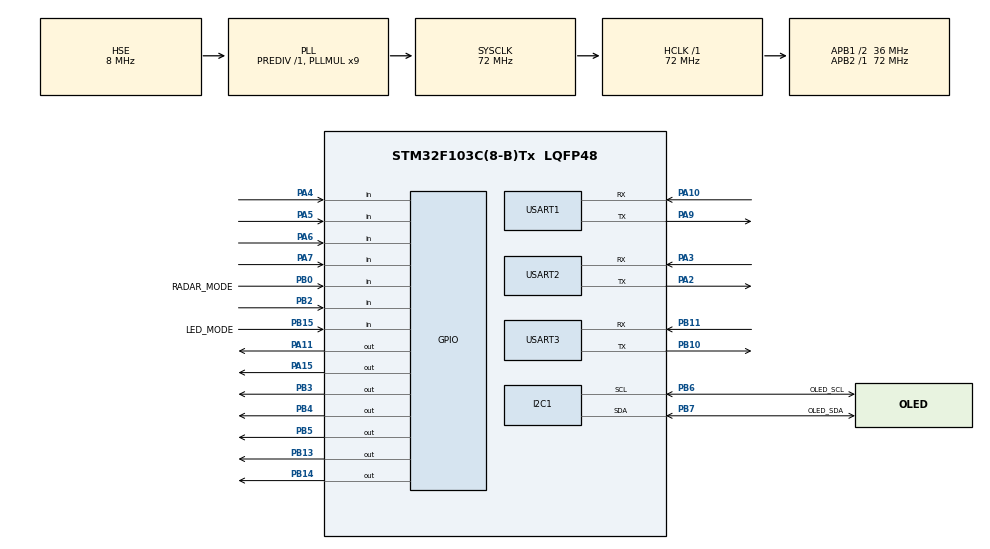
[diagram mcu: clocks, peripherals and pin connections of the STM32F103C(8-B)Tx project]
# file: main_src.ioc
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Dma.Request0=USART1_RX
Dma.Request1=USART1_TX
Dma.Request2=USART2_RX
Dma.Request3=USART2_TX
Dma.Request4=USART3_RX
Dma.Request5=USART3_TX
Dma.USART1_RX.0.Direction=DMA_PERIPH_TO_MEMORY
Dma.USART1_RX.0.Instance=DMA1_Channel5
Dma.USART1_RX.0.MemDataAlignment=DMA_MDATAALIGN_BYTE
Dma.USART1_RX.0.MemInc=DMA_MINC_ENABLE
Dma.USART1_RX.0.Mode=DMA_CIRCULAR
Dma.USART1_RX.0.PeriphDataAlignment=DMA_PDATAALIGN_BYTE
Dma.USART1_RX.0.PeriphInc=DMA_PINC_DISABLE
Dma.USART1_RX.0.Priority=DMA_PRIORITY_LOW
Dma.USART1_TX.1.Direction=DMA_MEMORY_TO_PERIPH
Dma.USART1_TX.1.Instance=DMA1_Channel4
Dma.USART1_TX.1.MemDataAlignment=DMA_MDATAALIGN_BYTE
Dma.USART1_TX.1.MemInc=DMA_MINC_ENABLE
Dma.USART1_TX.1.Mode=DMA_NORMAL
Dma.USART1_TX.1.PeriphDataAlignment=DMA_PDATAALIGN_BYTE
Dma.USART1_TX.1.PeriphInc=DMA_PINC_DISABLE
Dma.USART1_TX.1.Priority=DMA_PRIORITY_LOW
Dma.USART2_RX.2.Direction=DMA_PERIPH_TO_MEMORY
Dma.USART2_RX.2.Instance=DMA1_Channel6
Dma.USART2_RX.2.MemDataAlignment=DMA_MDATAALIGN_BYTE
Dma.USART2_RX.2.MemInc=DMA_MINC_ENABLE
Dma.USART2_RX.2.Mode=DMA_CIRCULAR
Dma.USART2_RX.2.PeriphDataAlignment=DMA_PDATAALIGN_BYTE
Dma.USART2_RX.2.PeriphInc=DMA_PINC_DISABLE
Dma.USART2_RX.2.Priority=DMA_PRIORITY_LOW
Dma.USART2_TX.3.Direction=DMA_MEMORY_TO_PERIPH
Dma.USART2_TX.3.Instance=DMA1_Channel7
Dma.USART2_TX.3.MemDataAlignment=DMA_MDATAALIGN_BYTE
Dma.USART2_TX.3.MemInc=DMA_MINC_ENABLE
Dma.USART2_TX.3.Mode=DMA_NORMAL
Dma.USART2_TX.3.PeriphDataAlignment=DMA_PDATAALIGN_BYTE
Dma.USART2_TX.3.PeriphInc=DMA_PINC_DISABLE
Dma.USART2_TX.3.Priority=DMA_PRIORITY_LOW
Dma.USART3_RX.4.Direction=DMA_PERIPH_TO_MEMORY
Dma.USART3_RX.4.Instance=DMA1_Channel3
Dma.USART3_RX.4.MemDataAlignment=DMA_MDATAALIGN_BYTE
Dma.USART3_RX.4.MemInc=DMA_MINC_ENABLE
Dma.USART3_RX.4.Mode=DMA_CIRCULAR
Dma.USART3_RX.4.PeriphDataAlignment=DMA_PDATAALIGN_BYTE
Dma.USART3_RX.4.PeriphInc=DMA_PINC_DISABLE
Dma.USART3_RX.4.Priority=DMA_PRIORITY_LOW
Dma.USART3_TX.5.Direction=DMA_MEMORY_TO_PERIPH
Dma.USART3_TX.5.Instance=DMA1_Channel2
Dma.USART3_TX.5.MemDataAlignment=DMA_MDATAALIGN_BYTE
Dma.USART3_TX.5.MemInc=DMA_MINC_ENABLE
Dma.USART3_TX.5.Mode=DMA_NORMAL
Dma.USART3_TX.5.PeriphDataAlignment=DMA_PDATAALIGN_BYTE
Dma.USART3_TX.5.PeriphInc=DMA_PINC_DISABLE
Dma.USART3_TX.5.Priority=DMA_PRIORITY_LOW
I2C1.DualAddressMode=I2C_DUALADDRESS_ENABLE
I2C1.NoStretchMode=I2C_NOSTRETCH_ENABLE
I2C1.OwnAddress2=0x78
Mcu.Family=STM32F1
Mcu.Name=STM32F103C(8-B)Tx
Mcu.Package=LQFP48
NVIC.DMA1_Channel2_IRQn=true\:0\:0\:false\:false\:true\:false\:true
NVIC.DMA1_Channel3_IRQn=true\:0\:0\:false\:false\:true\:false\:true
NVIC.DMA1_Channel4_IRQn=true\:0\:0\:false\:false\:true\:false\:true
NVIC.DMA1_Channel5_IRQn=true\:0\:0\:false\:false\:true\:false\:true
NVIC.DMA1_Channel6_IRQn=true\:0\:0\:false\:false\:true\:false\:true
NVIC.DMA1_Channel7_IRQn=true\:0\:0\:false\:false\:true\:false\:true
NVIC.PriorityGroup=NVIC_PRIORITYGROUP_4
NVIC.TIM2_IRQn=true\:0\:0\:false\:false\:true\:true\:true
NVIC.USART1_IRQn=true\:0\:0\:false\:false\:true\:true\:true
NVIC.USART2_IRQn=true\:0\:0\:false\:false\:true\:true\:true
NVIC.USART3_IRQn=true\:0\:0\:false\:false\:true\:true\:true
PA10.Mode=Asynchronous
PA10.Signal=USART1_RX
PA11.Signal=GPIO_Output
PA13.Mode=Serial_Wire
PA13.Signal=SYS_JTMS-SWDIO
PA14.Mode=Serial_Wire
PA14.Signal=SYS_JTCK-SWCLK
PA15.Signal=GPIO_Output
PA2.Mode=Asynchronous
PA2.Signal=USART2_TX
PA3.Mode=Asynchronous
PA3.Signal=USART2_RX
PA4.GPIO_PuPd=GPIO_PULLUP
PA4.Signal=GPIO_Input
PA5.GPIO_PuPd=GPIO_PULLUP
PA5.Signal=GPIO_Input
PA6.GPIO_PuPd=GPIO_PULLUP
PA6.Signal=GPIO_Input
PA7.GPIO_PuPd=GPIO_PULLUP
PA7.Signal=GPIO_Input
PA9.Mode=Asynchronous
PA9.Signal=USART1_TX
PB0.GPIO_Label=RADAR_MODE
PB0.GPIO_PuPd=GPIO_PULLUP
PB0.Signal=GPIO_Input
PB10.Mode=Asynchronous
PB10.Signal=USART3_TX
PB11.Mode=Asynchronous
PB11.Signal=USART3_RX
PB13.Signal=GPIO_Output
PB14.Signal=GPIO_Output
PB15.GPIO_Label=LED_MODE
PB15.GPIO_PuPd=GPIO_PULLUP
PB15.Signal=GPIO_Input
PB2.GPIO_PuPd=GPIO_PULLUP
PB2.Signal=GPIO_Input
PB3.Signal=GPIO_Output
PB4.Signal=GPIO_Output
PB5.Signal=GPIO_Output
PB6.GPIO_Label=OLED_SCL
PB6.GPIO_Speed=GPIO_SPEED_FREQ_HIGH
PB6.Mode=I2C
PB6.Signal=I2C1_SCL
PB7.GPIO_Label=OLED_SDA
PB7.Mode=I2C
PB7.Signal=I2C1_SDA
PD0-OSC_IN.Mode=HSE-External-Oscillator
PD0-OSC_IN.Signal=RCC_OSC_IN
PD1-OSC_OUT.Mode=HSE-External-Oscillator
PD1-OSC_OUT.Signal=RCC_OSC_OUT
ProjectManager.HeapSize=0x400
ProjectManager.StackSize=0x400
ProjectManager.TargetToolchain=MDK-ARM V5
RCC.AHBFreq_Value=72000000
RCC.APB1CLKDivider=RCC_HCLK_DIV2
RCC.APB1Freq_Value=36000000
RCC.APB1TimFreq_Value=72000000
RCC.APB2Freq_Value=72000000
RCC.APB2TimFreq_Value=72000000
RCC.HCLKFreq_Value=72000000
RCC.PLLMUL=RCC_PLL_MUL9
RCC.PLLSourceVirtual=RCC_PLLSOURCE_HSE
RCC.SYSCLKFreq_VALUE=72000000
RCC.SYSCLKSource=RCC_SYSCLKSOURCE_PLLCLK
RCC.USBFreq_Value=72000000
TIM2.AutoReloadPreload=TIM_AUTORELOAD_PRELOAD_DISABLE
TIM2.Period=9999
TIM2.Prescaler=719
USART1.VirtualMode=VM_ASYNC
USART2.VirtualMode=VM_ASYNC
USART3.VirtualMode=VM_ASYNC
VP_TIM2_VS_ClockSourceINT.Mode=Internal
board=custom

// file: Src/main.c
/* USER CODE BEGIN Header */
/**
  ******************************************************************************
  * @file           : main.c
  * @brief          : Main program body
  ******************************************************************************
  * @attention
  *
  * <h2><center>&copy; Copyright (c) 2020 STMicroelectronics.
  * All rights reserved.</center></h2>
  *
  * This software component is licensed by ST under BSD 3-Clause license,
  * the "License"; You may not use this file except in compliance with the
  * License. You may obtain a copy of the License at:
  *                        opensource.org/licenses/BSD-3-Clause
  *
  ******************************************************************************
  */
/* USER CODE END Header */

#include "main.h"
#include "dma.h"
#include "i2c.h"
#include "tim.h"
#include "usart.h"
#include "gpio.h"

/* USER CODE BEGIN Includes */
#include "stmflash.h"
#include "delay.h"
#include <stdbool.h>
#include <stdio.h>
/* USER CODE END Includes */

/* USER CODE BEGIN PD */

//?��??STM32 FLASH???????????
//3�� 0x01,0x2C  1.5�� 0x00,0x96,0.9��  0x00,0x5A,
//0.6��0x00,0x3C, 0.3��0x00,0x1E,
uint8_t param[28]={
	0x01,0x2C, 0x00,0x5A,  0x00,0x1E,
	0x00,0x96, 0x00,0x5A,  0x00,0x3C,
	0x00,0x1E, 0x00,0x3C,  0x00,0x5A,
	0x00,0x1E, 0x00,0x96,  0x00,0x5A,
	0x00,0x3C, 0x00,0x1E,
};

//#define Con1A_12		((float)(param[0]*256+param[1])/100)
//#define Con1A_3_max		((float)(param[2]*256+param[3])/100)
//#define Con1A_3_min		((float)(param[4]*256+param[5])/100)
//#define Con1B_12		((float)(param[6]*256+param[7])/100)
//#define Con1B_3			((float)(param[8]*256+param[9])/100)
//#define Con1B_4			((float)(param[10]*256+param[11])/100)
//#define Con1B_5			((float)(param[12]*256+param[13])/100)

//#define Con2A_12		((float)(param[14]*256+param[15])/100)
//#define Con2A_3_max		((float)(param[16]*256+param[17])/100)
//#define Con2A_3_min		((float)(param[18]*256+param[19])/100)
//#define Con2B_12		((float)(param[20]*256+param[21])/100)
//#define Con2B_3			((float)(param[22]*256+param[23])/100)
//#define Con2B_4			((float)(param[24]*256+param[25])/100)
//#define Con2B_5			((float)(param[26]*256+param[27])/100)

float Con1A_12;
float Con1A_3_max;
float Con1A_3_min;
float Con1B_12;
float Con1B_3;
float Con1B_4;
float Con1B_5;

float Con2A_12	;
float Con2A_3_max;
float Con2A_3_min;
float Con2B_12;
float Con2B_3;
float Con2B_4;
float Con2B_5;

uint32_t NOW1_R_A_2 = 0;
uint32_t NOW1_R_B_2 = 0;
uint32_t NOW1_R_B_3 = 0;
uint32_t NOW1_R_B_4 = 0;

uint32_t NOW2_R_A_2 = 0;
uint32_t NOW2_R_B_2 = 0;
uint32_t NOW2_R_B_3 = 0;
uint32_t NOW2_R_B_4 = 0;

uint32_t NOW3_R = 0;

uint8_t CMD_Buf[5]={0,0,0,0,0};
#define Cmd_size	5

#define SIZE sizeof(param)		//???�A??

uint8_t	Radar1_Rec_Buf[27];
#define Radar1_size	27

uint8_t	Radar2_Rec_Buf[27];
#define Radar2_size	27

uint8_t radar_err = 0;
float last_dis = 0.0f;

#define Control_Mode 	PBin(0)
#define LED_Mode   		PBin(15)
#define LED_1 	   		PAout(15)
#define LED_2      		PBout(3)
#define LED_3      		PAout(11)
#define ExCon1			PBout(4)
#define ExCon2			PBout(5)

#define One_Ctrl_Mode	PBin(2)	//  PIN 20
#define One_Ctrl_Mode2	PAin(4)	//  PIN 14
#define One_Ctrl_Mode3	PAin(5)	//  PIN 15
#define One_Ctrl_Mode4	PAin(6)	//  PIN 16
#define One_Ctrl_Mode5	PAin(7)	//  PIN 17
													//����
#define Out_Ger_led		PAout(15)	// PIN 38   	 �̵�
#define Out_Yellow_led	PBout(4)	// PIN 40		 ����
#define Out_Red_led		PBout(3)	// PIN 39		 ���
															//����
#define In_Red_led		PBout(14)	// PIN 27		 ���
#define In_Ger_led		PBout(13)	// PIN 26		 �̵�

#define _100ms			1U

/* USER CODE END PD */

/* USER CODE BEGIN PM */
bool Radar_Flag = false;
enum  Radar
{
	FIX1,
	FIX2,
	DIS_L,
	DIS_H,
	STR_1,
	STR_2,
	MODE,
	SAVE,
	ChceckSum
};
enum Radar state1 = FIX1;
enum Radar state2 = FIX1;

/* USER CODE END PM */

/* USER CODE BEGIN PV */
extern UART_HandleTypeDef huart1;
extern UART_HandleTypeDef huart2;
extern UART_HandleTypeDef huart3;
extern TIM_HandleTypeDef htim2;
uint32_t time_100ms = 0;

bool Radar1_ok = false;
bool Radar2_ok = false;

/* USER CODE END PV */

void SystemClock_Config(void);
/* USER CODE BEGIN PFP */
void RadarB_hand(void);
void RadarA_hand(void);
void One_Radar_hand(void);
void Radar_Data_Set(uint8_t *cmd);
void ParamLoad(void);
void get_time(uint32_t *time);
uint32_t hrt_time(uint32_t time);

/* USER CODE END PFP */

int main(void)
{

  /* MCU Configuration--------------------------------------------------------*/

  /* Reset of all peripherals, Initializes the Flash interface and the Systick. */
  HAL_Init();

  /* Configure the system clock */
  SystemClock_Config();

  /* Initialize all configured peripherals */
  MX_GPIO_Init();
  MX_DMA_Init();
  MX_I2C1_Init();
  MX_USART1_UART_Init();
  MX_USART2_UART_Init();
  MX_USART3_UART_Init();
  MX_TIM2_Init();
  /* USER CODE BEGIN 2 */
  delay_init(72);
  delay_ms(500);
  HAL_TIM_Base_Start_IT(&htim2);
	HAL_UART_Receive_DMA(&huart1,CMD_Buf,Cmd_size);
	HAL_UART_Receive_DMA(&huart2,Radar1_Rec_Buf,Radar1_size);
	HAL_UART_Receive_DMA(&huart3,Radar2_Rec_Buf,Radar2_size);

  /* USER CODE END 2 */

  /* Infinite loop */
  while (1)
  {

    /* USER CODE BEGIN 3 */
	 One_Radar_hand();
	 delay_ms(80);

  }
  /* USER CODE END 3 */
}

void SystemClock_Config(void)
{
  RCC_OscInitTypeDef RCC_OscInitStruct = {0};
  RCC_ClkInitTypeDef RCC_ClkInitStruct = {0};

  /** Initializes the CPU, AHB and APB busses clocks
  */
  RCC_OscInitStruct.OscillatorType = RCC_OSCILLATORTYPE_HSE;
  RCC_OscInitStruct.HSEState = RCC_HSE_ON;
  RCC_OscInitStruct.HSEPredivValue = RCC_HSE_PREDIV_DIV1;
  RCC_OscInitStruct.HSIState = RCC_HSI_ON;
  RCC_OscInitStruct.PLL.PLLState = RCC_PLL_ON;
  RCC_OscInitStruct.PLL.PLLSource = RCC_PLLSOURCE_HSE;
  RCC_OscInitStruct.PLL.PLLMUL = RCC_PLL_MUL9;
  if (HAL_RCC_OscConfig(&RCC_OscInitStruct) != HAL_OK)
  {
    Error_Handler();
  }
  /** Initializes the CPU, AHB and APB busses clocks
  */
  RCC_ClkInitStruct.ClockType = RCC_CLOCKTYPE_HCLK|RCC_CLOCKTYPE_SYSCLK
                              |RCC_CLOCKTYPE_PCLK1|RCC_CLOCKTYPE_PCLK2;
  RCC_ClkInitStruct.SYSCLKSource = RCC_SYSCLKSOURCE_PLLCLK;
  RCC_ClkInitStruct.AHBCLKDivider = RCC_SYSCLK_DIV1;
  RCC_ClkInitStruct.APB1CLKDivider = RCC_HCLK_DIV2;
  RCC_ClkInitStruct.APB2CLKDivider = RCC_HCLK_DIV1;

  if (HAL_RCC_ClockConfig(&RCC_ClkInitStruct, FLASH_LATENCY_2) != HAL_OK)
  {
    Error_Handler();
  }
}

/* USER CODE BEGIN 4 */
void HAL_UART_RxCpltCallback(UART_HandleTypeDef *huart)
{
//	if(huart == &huart2){
//		Radar_Flag = true;
//	}
//	if(huart == &huart3){

//	}
//	if(huart == &huart1){
////		HAL_UART_Transmit_DMA(&huart1, CMD_Buf, 5);
//		Radar_Data_Set(CMD_Buf);
//	}
}

void HAL_TIM_PeriodElapsedCallback(TIM_HandleTypeDef *htim)
{
	if(htim->Instance == htim2.Instance)
	{
		time_100ms ++;
		if(time_100ms >= 0xFFFFFFFE){
			time_100ms = 0;
			NOW1_R_A_2 = 0;
			NOW1_R_B_2 = 0;
			NOW1_R_B_3 = 0;
			NOW1_R_B_4 = 0;

			NOW2_R_A_2 = 0;
			NOW2_R_B_2 = 0;
			NOW2_R_B_3 = 0;
			NOW2_R_B_4 = 0;

			NOW3_R = 0;
		}
	}

}

uint8_t check_sum(uint8_t *data)
{
	uint8_t sum = 0;
	int crc_sum = 0;
	for(uint8_t i=0;i<8;i++){
		crc_sum += data[i];
	}
	sum = crc_sum&0xff;
	return sum;
}
void RadarB_hand(void)
{
	uint8_t c;
	uint8_t buffer[9];
	Radar2_ok = false;
	for(uint8_t i=0;i<9;i++)
	{
		c = state2;
//		printf("in to radar2\n");
//		printf(" %02x",Radar1_Rec_Buf[i]);
		switch(c)
		{
			case FIX1:
				if(Radar1_Rec_Buf[i] == 0x59){
					state2 = FIX2;
					buffer[0] = Radar1_Rec_Buf[i];
				}
				else{
					state2 = FIX1;
				}
				break;
			case FIX2:
				if(Radar1_Rec_Buf[i] == 0x59){
					buffer[1] = Radar1_Rec_Buf[i];
					state2 = DIS_L;
				}
				else{
					state2 = FIX1;
				}
				break;
			case DIS_L:
				buffer[2] = Radar1_Rec_Buf[i];
				state2 = DIS_H;
				break;

			case DIS_H:
				buffer[3] = Radar1_Rec_Buf[i];
				state2 = STR_1;
				break;
			case STR_1:
				buffer[4] = Radar1_Rec_Buf[i];
				state2 = STR_2;
				break;
			case STR_2:
				buffer[5] = Radar1_Rec_Buf[i];
				state2 = MODE;
				break;
			case MODE:
				buffer[6] = Radar1_Rec_Buf[i];
				state2 = SAVE;
				break;
			case SAVE:
				buffer[7] = Radar1_Rec_Buf[i];
				state2 = ChceckSum;
				break;
			case ChceckSum:
//				printf("buf=%02x crc=%02x\n",Radar1_Rec_Buf[i],check_sum(buffer));
				if( Radar1_Rec_Buf[i] == check_sum(buffer)){
					Radar2_ok = true;
//					printf("sum ok\n");
				}
				break;
			default:
				break;
		}
//		if(Radar2_ok ){
//			state2 = FIX1;
//			break;
//		}
	}
	state2 = FIX1;

//control A
//	printf("Radar_Mode=%d 2_ok=%d\n",(uint16_t)Radar_Mode ,Radar2_ok );
	if(Radar2_ok){
		Radar2_ok = false;
		float distance = 0;
		distance = (float)(buffer[2] + buffer[3]*256)/100;
//		printf("distance B=%f \n",distance);
		if(LED_Mode){
//			printf("mode A \n\n");
			if((distance>(float)Con2A_3_min
				&& distance<=(float)Con2A_3_max)
				|| (distance<=(float)Con2A_12)){
				if((float)Con2A_3_max < (float)Con2A_12){
					LED_1 = 1; LED_2 = 1; LED_3 = 0;
//					printf("distance0.3 - 0.9\n\n");
				}else{
					if((hrt_time(NOW2_R_A_2) > _100ms*10) && (distance<=(float)Con2A_12)){
						get_time(&NOW2_R_A_2);
						LED_1 ^= 1; LED_2 ^= 1; LED_3 = 0;
//						printf("distance<0.6 time=%d\n\n",time_100ms);
					}
					else if(distance <= (float)Con2A_3_max){
						LED_1 = 1; LED_2 = 1; LED_3 = 0;
//						printf("distance<0.9\n\n");
					}
				}
			}
			else if(distance > (float)Con2A_12){
				LED_1 = 0; LED_2 = 0; LED_3 = 1;
//				printf("distance>0.6\n\n");
			}
		}
		else{ //control B
//			printf("mode B \n\n");

			if(distance <= (float)Con2B_12){
//				printf("distance B=%f \n",distance);
				if(distance <= (float)Con2B_5){
					LED_1 = 0; LED_2 = 1; LED_3 = 0;
//					printf("distance<0.3\n\n");
				}
				else if(distance <= (float)Con2B_4){
					if(hrt_time(NOW2_R_B_4) > _100ms*2){
						get_time(&NOW2_R_B_4);
						LED_1 ^= 1; LED_2 = 0; LED_3 = 0;
//					printf("distance<0.6\n\n");
					}
				}
				else if(distance <= (float)Con2B_3){
					if(hrt_time(NOW2_R_B_3) > _100ms*5){
						get_time(&NOW2_R_B_3);
						LED_1 ^= 1; LED_2 = 0; LED_3 = 0;
//					printf("distance<0.9\n\n");
					}
				}
				else if(distance<= (float)Con2B_12){
					if(hrt_time(NOW2_R_B_2) > _100ms*10){
						get_time(&NOW2_R_B_2);
						LED_1 ^= 1; LED_2 = 0; LED_3 = 0;
//						printf("distance<1.5\n\n");
					}
				}
			}
			else{
				LED_1=0; LED_2=0; LED_3=1;
//				printf("distance>1.5\n\n");
			}
		}
	}
}

void RadarA_hand(void)
{
	uint8_t c;
	uint8_t buffer[9];
	Radar1_ok = false;
//	printf("in radar1 fun\n");
	for(uint8_t i=0;i<9;i++)
	{
//		printf(" %02x\n",Radar1_Rec_Buf[i]);
		c = state1;
		switch(c)
		{
			case FIX1:
				if(Radar2_Rec_Buf[i] == 0x59){
					state1 = FIX2;
					buffer[0] = Radar2_Rec_Buf[i];
				}
				else{
					state1 = FIX1;
				}
				break;
			case FIX2:
				if(Radar2_Rec_Buf[i] == 0x59){
					buffer[1] = Radar2_Rec_Buf[i];
					state1 = DIS_L;
				}
				else{
					state1 = FIX1;
				}
				break;
			case DIS_L:
				buffer[2] = Radar2_Rec_Buf[i];
				state1 = DIS_H;
				break;

			case DIS_H:
				buffer[3] = Radar2_Rec_Buf[i];
				state1 = STR_1;
				break;
			case STR_1:
				buffer[4] = Radar2_Rec_Buf[i];
				state1 = STR_2;
				break;
			case STR_2:
				buffer[5] = Radar2_Rec_Buf[i];
				state1 = MODE;
				break;
			case MODE:
				buffer[6] = Radar2_Rec_Buf[i];
				state1 = SAVE;
				break;
			case SAVE:
				buffer[7] = Radar2_Rec_Buf[i];
				state1 = ChceckSum;
				break;
			case ChceckSum:
//				printf("buf=%02x crc=%02x\n",Radar2_Rec_Buf[i],check_sum(buffer));
				if( Radar2_Rec_Buf[i] == check_sum(buffer)){
					Radar1_ok = true;
//					printf("Radar1_ok=%d\n",Radar1_ok);
				}
//				printf("Radar1 sum ok\n");
				break;
			default:
				break;
		}
	}
	state1 = FIX1;

//control A
	if(Radar1_ok==true){
//		printf("dis jisuan \n");
		float distance = 0;
		Radar1_ok = false;
		distance = (float)(buffer[2] + buffer[3]*256)/100;
//		printf("distance A=%f \n",distance);
		if(Control_Mode && LED_Mode){
			if(distance <= 0.6f){
				LED_1=1; LED_2=1; LED_3=0; ExCon1=0; ExCon2=1;
			}
			else if(distance <= 3.0f){
				if(hrt_time(NOW3_R) > _100ms*10){
					get_time(&NOW3_R);
					LED_1 ^= 1; LED_2 ^= 1; LED_3=0; ExCon1=1; ExCon2=0;
				}
			}
			else if(distance > 3.0f){
				LED_1 = 0; LED_2 = 0; LED_3=1; ExCon1=0; ExCon2=0;
			}
		}
		else{
			if(LED_Mode){
				if(((distance > (float)Con1A_3_min)
					&& (distance<=(float)Con1A_3_max))
					|| (distance <= (float)Con1A_12)){
					if( distance <= (float)Con1A_3_max){
						LED_1 = 1; LED_2 = 1; LED_3 = 0; ExCon1=0; ExCon2=1;
					}
					else{
						if((hrt_time(NOW1_R_A_2) > _100ms*10) && (distance<=(float)Con1A_3_min)){
							get_time(&NOW1_R_A_2);
							LED_1 ^= 1; LED_2 ^= 1; LED_3 = 0; ExCon1=1; ExCon2=0;
						}
					}
				}
				else if(distance > (float)Con1A_12){
					LED_1 = 0; LED_2 = 0; LED_3 = 1; ExCon1=0; ExCon2=0;
				}
			}
			else{ //control B
//				printf("MODE B  %3.2f\n",Con1B_12);
				if(distance <= (float)Con1B_12){
					if(distance <= (float)Con1B_5){
						LED_1 = 0; LED_2 = 1; LED_3 = 0;
//						printf("distance <0.3\n\n");
					}
					else if(distance < (float)Con1B_4){
						if(hrt_time(NOW1_R_B_4) > _100ms*2){
							get_time(&NOW1_R_B_4);
							LED_1 ^= 1; LED_2 = 0; LED_3 = 0;
//							printf("distance <0.6\n\n");
						}
					}
					else if(distance <= (float)Con1B_3){
						if(hrt_time(NOW1_R_B_3) > _100ms*5){
							get_time(&NOW1_R_B_3);
							LED_1 ^= 1; LED_2 = 0; LED_3 = 0;
//							printf("distance <0.9\n\n");
						}
					}
					else if(distance <= (float)Con1B_12){
						if(hrt_time(NOW1_R_B_2) > _100ms*10){
							get_time(&NOW1_R_B_2);
							LED_1 ^= 1; LED_2 = 0; LED_3 = 0;
//							printf("time_100ms=%d\n",time_100ms);
//							printf("distance < 1.5\n\n");
						}
					}
				}
				else{
//					printf("distance > 1.5\n\n");
					LED_1=0; LED_2=0; LED_3=1;
				}
			}
		}
	}
//	mepyset Radar2_Rec_Buf

}

void One_Radar_hand(void)
{
	uint8_t c;
	uint8_t buffer[9];
	Radar1_ok = false;
	for(uint8_t i=0;i<9;i++)
	{
		c = state1;
		switch(c)
		{
			case FIX1:
				if(Radar2_Rec_Buf[i] == 0x59){
					state1 = FIX2;
					buffer[0] = Radar2_Rec_Buf[i];
				}
				else{
					state1 = FIX1;
				}
				break;
			case FIX2:
				if(Radar2_Rec_Buf[i] == 0x59){
					buffer[1] = Radar2_Rec_Buf[i];
					state1 = DIS_L;
				}
				else{
					state1 = FIX1;
				}
				break;
			case DIS_L:
				buffer[2] = Radar2_Rec_Buf[i];
				state1 = DIS_H;
				break;

			case DIS_H:
				buffer[3] = Radar2_Rec_Buf[i];
				state1 = STR_1;
				break;
			case STR_1:
				buffer[4] = Radar2_Rec_Buf[i];
				state1 = STR_2;
				break;
			case STR_2:
				buffer[5] = Radar2_Rec_Buf[i];
				state1 = MODE;
				break;
			case MODE:
				buffer[6] = Radar2_Rec_Buf[i];
				state1 = SAVE;
				break;
			case SAVE:
				buffer[7] = Radar2_Rec_Buf[i];
				state1 = ChceckSum;
				break;
			case ChceckSum:
//				printf("buf=%02x crc=%02x\n",Radar2_Rec_Buf[i],check_sum(buffer));
				if( Radar2_Rec_Buf[i] == check_sum(buffer)){
					Radar1_ok = true;
//					printf("Radar1_ok=%d\n",Radar1_ok);
				}
//				printf("Radar1 sum ok\n");
				break;
			default:
				break;
		}
	}
	if(!Radar1_ok){
		radar_err++;
	}
	state1 = FIX1;

	if(Radar1_ok==false && (radar_err>1)){
		printf("sitch:%d\n",HAL_GPIO_ReadPin(GPIOB,GPIO_PIN_2));
		if(radar_err>100){
			radar_err = 2;
		}
		if(HAL_GPIO_ReadPin(GPIOB,GPIO_PIN_2)){
			Out_Ger_led=1; Out_Yellow_led=0; Out_Red_led=0; In_Red_led=1; In_Ger_led=0;
			printf("out ger in red\n");
		}
		else{
			Out_Ger_led=0; Out_Yellow_led=0; Out_Red_led=1; In_Red_led=0; In_Ger_led=1;
			printf("out yellow in red\n");
		}
	}
	if(Radar1_ok==true){
		float distance = 0;

		Radar1_ok = false;
		if(radar_err!=0){
			radar_err = 0;
			distance = last_dis;
		}
		else{
			distance = (float)(buffer[2] + buffer[3]*256)/100;
			last_dis = distance;
		}

		printf("distance=%f sitch:%d\n",distance,HAL_GPIO_ReadPin(GPIOB,GPIO_PIN_2));
		if(HAL_GPIO_ReadPin(GPIOB,GPIO_PIN_2)){
			if(distance <= 0.31f){
				if(hrt_time(NOW1_R_A_2) > _100ms*5){
					get_time(&NOW1_R_A_2);
					Out_Ger_led=0; Out_Yellow_led=1; Out_Red_led=0; In_Red_led^=1; In_Ger_led=0;
				}
				printf("ok < 0.31 \n");
			}
			else if((distance > 0.9f) && (distance < 1.8f)){
				if(hrt_time(NOW3_R) > _100ms*5){
					get_time(&NOW3_R);
					Out_Ger_led=0; Out_Yellow_led^=1; Out_Red_led=0; In_Red_led=1; In_Ger_led=0;
				}
				printf("ok  0.9~01.8 \n");
			}
			else{
				Out_Ger_led=1; Out_Yellow_led=0; Out_Red_led=0; In_Red_led=1; In_Ger_led=0;
				printf("ok  none sitch 1\n");
			}
		}
		else{
			Out_Ger_led=0; Out_Yellow_led=0; Out_Red_led=1; In_Red_led=0; In_Ger_led=1;
			printf("ok  none sitch 0\n");
		}
	}

}
void Radar_Data_Set(uint8_t *cmd)
{
	if((cmd[0]==0xA5) && (cmd[1]==0x5A)){
//		printf("cmd=%02x\n",cmd[2]);
		switch(cmd[2])
		{
			case RADAR1_A_STEP12_DIS:
				STMFLASH_Write(FLASH_SAVE_ADDR + RADAR1_A_STEP12_DIS,(uint16_t*)(&cmd[3]),1);
				param[0]=cmd[3]; param[1]=cmd[4];
				break;
			case RADAR1_A_STEP3_BIG:
				STMFLASH_Write(FLASH_SAVE_ADDR + RADAR1_A_STEP3_BIG,(uint16_t*)(&cmd[3]),1);
				param[2]=cmd[3]; param[3]=cmd[4];
				break;
			case RADAR1_A_STEP3_MIN:
				STMFLASH_Write(FLASH_SAVE_ADDR + RADAR1_A_STEP3_MIN,(uint16_t*)(&cmd[3]),1);
				param[4]=cmd[3]; param[5]=cmd[4];
				break;
			case RADAR1_B_STEP12_DIS:
				STMFLASH_Write(FLASH_SAVE_ADDR + RADAR1_B_STEP12_DIS,(uint16_t*)(&cmd[3]),2);
				param[6]=cmd[3]; param[7]=cmd[4];
				break;
			case RADAR1_B_STEP3_DIS:
				STMFLASH_Write(FLASH_SAVE_ADDR + RADAR1_B_STEP3_DIS,(uint16_t*)(&cmd[3]),2);
				param[8]=cmd[3]; param[9]=cmd[4];
				break;
			case RADAR1_B_STEP4_DIS:
				STMFLASH_Write(FLASH_SAVE_ADDR + RADAR1_B_STEP4_DIS,(uint16_t*)(&cmd[3]),2);
				param[10]=cmd[3]; param[11]=cmd[4];
				break;
			case RADAR1_B_STEP5_DIS:
				STMFLASH_Write(FLASH_SAVE_ADDR + RADAR1_B_STEP5_DIS,(uint16_t*)(&cmd[3]),2);
				param[12]=cmd[3]; param[13]=cmd[4];
				break;
			case RADAR2_A_STEP12_DIS:
				STMFLASH_Write(FLASH_SAVE_ADDR + RADAR2_A_STEP12_DIS,(uint16_t*)(&cmd[3]),2);
				param[14]=cmd[3]; param[15]=cmd[4];
				break;
			case RADAR2_A_STEP3_BIG:
				STMFLASH_Write(FLASH_SAVE_ADDR + RADAR2_A_STEP3_BIG,(uint16_t*)(&cmd[3]),2);
				param[16]=cmd[3]; param[17]=cmd[4];
				break;
			case RADAR2_A_STEP3_MIN:
				STMFLASH_Write(FLASH_SAVE_ADDR + RADAR2_A_STEP3_MIN,(uint16_t*)(&cmd[3]),2);
				param[18]=cmd[3]; param[19]=cmd[4];
				break;
			case RADAR2_B_STEP12_DIS:
				STMFLASH_Write(FLASH_SAVE_ADDR + RADAR2_B_STEP12_DIS,(uint16_t*)(&cmd[3]),2);
				param[20]=cmd[3]; param[21]=cmd[4];
				break;
			case RADAR2_B_STEP3_DIS:
				STMFLASH_Write(FLASH_SAVE_ADDR + RADAR2_B_STEP3_DIS,(uint16_t*)(&cmd[3]),2);
				param[22]=cmd[3]; param[23]=cmd[4];
				break;
			case RADAR2_B_STEP4_DIS:
				STMFLASH_Write(FLASH_SAVE_ADDR + RADAR2_B_STEP4_DIS,(uint16_t*)(&cmd[3]),2);
				param[24]=cmd[3]; param[25]=cmd[4];
				break;
			case RADAR2_B_STEP5_DIS:
				STMFLASH_Write(FLASH_SAVE_ADDR + RADAR2_B_STEP5_DIS,(uint16_t*)(&cmd[3]),2);
				param[26]=cmd[3]; param[27]=cmd[4];
				break;
			default:
				break;
		}
	}
}

void ParamLoad(void)
{
	STMFLASH_Read(FLASH_SAVE_ADDR,(uint16_t*)param,SIZE);

}

void get_time(uint32_t *time)
{
	*time = time_100ms;
}

uint32_t hrt_time(uint32_t time)
{
	return (time_100ms - time);
}
/* USER CODE END 4 */

void Error_Handler(void)
{
}

/************************ (C) COPYRIGHT STMicroelectronics *****END OF FILE****/
